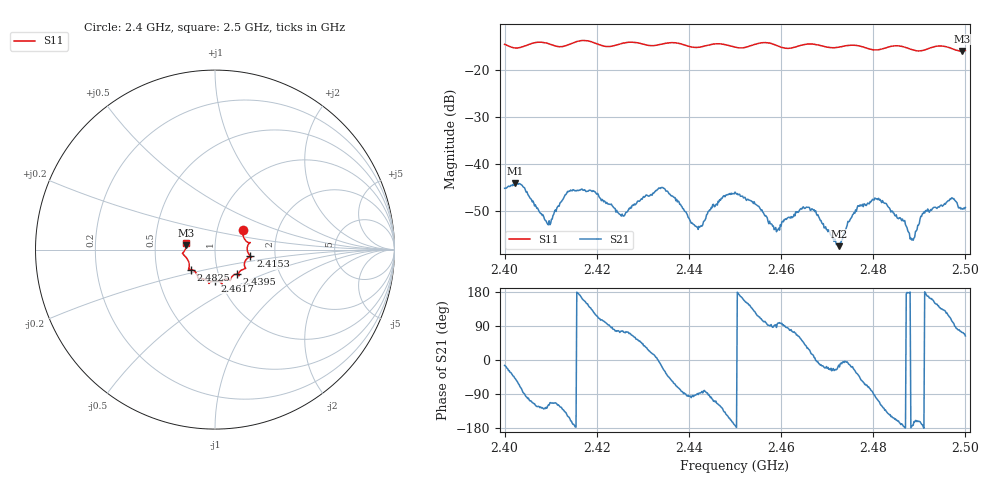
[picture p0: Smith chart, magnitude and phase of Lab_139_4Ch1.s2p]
# Hz S RI R 50
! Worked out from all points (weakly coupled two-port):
!   601 points, 2.4 GHz to 2.5 GHz, reference 50 ohm
!   highest |S21| = -44.07 dB at 2.4023 GHz (marker M1); lowest = -57.5 dB at 2.4725 GHz (marker M2)
!   lowest |S11| = -15.9 dB at 2.4993 GHz (marker M3), VSWR 1.38, Z = 36.2 + j1.74 ohm
!   |S11| at or under -10 dB: start of sweep to end of sweep
!   S12 and S22 are empty: the file has one direction only
!   S11 on the Smith chart (normalised r, x): 2.4 GHz: 1.33, +0.30; 2.4153 GHz: 1.49, -0.11; 2.4395 GHz: 1.22, -0.35; 2.4617 GHz: 0.94, -0.34; 2.4825 GHz: 0.75, -0.17; 2.5 GHz: 0.72, +0.05
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2.4e9  0.1555 0.109  0.00533 -0.00137  0 0  0 0
2.402333e9  0.1585 0.0708  0.00407 -0.00476  0 0  0 0
2.4095e9  0.1899 0.0347  -0.00107 -0.00197  0 0  0 0
2.415333e9  0.1976 -0.0371  -0.00516 -0.000275  0 0  0 0
2.416667e9  0.2044 -0.0418  -0.00522 0.00142  0 0  0 0
2.4255e9  0.1672 -0.0993  0.000657 0.00285  0 0  0 0
2.433333e9  0.1322 -0.1332  0.00543 -6.23e-05  0 0  0 0
2.4395e9  0.1223 -0.1373  -0.000218 -0.00296  0 0  0 0
2.4425e9  0.0943 -0.1504  0.000112 -0.00215  0 0  0 0
2.45e9  0.0671 -0.1642  -0.00497 -0.000664  0 0  0 0
2.458833e9  0.0333 -0.1836  -0.000105 0.0021  0 0  0 0
2.461667e9  0.00083 -0.1723  0.000366 0.00268  0 0  0 0
2.466667e9  -0.0337 -0.1885  0.00321 0.000884  0 0  0 0
2.4725e9  -0.0729 -0.1615  0.00129 -0.000312  0 0  0 0
2.477e9  -0.0953 -0.1557  0.00255 -0.00246  0 0  0 0
2.4825e9  -0.1325 -0.1114  -0.00258 -0.0028  0 0  0 0
2.483333e9  -0.1398 -0.1104  -0.00272 -0.00211  0 0  0 0
2.4885e9  -0.1434 -0.0845  -0.00157 -0.000209  0 0  0 0
2.491333e9  -0.1605 -0.0436  -0.00316 0.000177  0 0  0 0
2.497167e9  -0.1701 -0.00766  -0.000842 0.00426  0 0  0 0
2.499333e9  -0.1594 0.0235  0.000992 0.00315  0 0  0 0
2.5e9  -0.1594 0.0353  0.00154 0.00308  0 0  0 0
